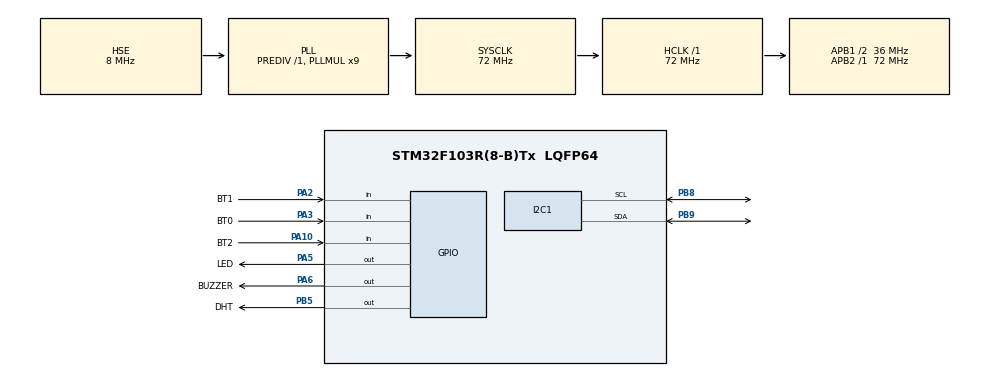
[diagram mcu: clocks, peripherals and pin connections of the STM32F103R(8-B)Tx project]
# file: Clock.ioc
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Mcu.Family=STM32F1
Mcu.Name=STM32F103R(8-B)Tx
Mcu.Package=LQFP64
NVIC.I2C1_ER_IRQn=true\:0\:0\:false\:false\:true\:true\:true\:true
NVIC.I2C1_EV_IRQn=true\:0\:0\:false\:false\:true\:true\:true\:true
NVIC.PriorityGroup=NVIC_PRIORITYGROUP_4
NVIC.TIM2_IRQn=true\:0\:0\:false\:false\:true\:true\:true\:true
PA10.GPIO_Label=BT2
PA10.GPIO_PuPd=GPIO_PULLUP
PA10.Signal=GPIO_Input
PA13.Mode=Serial_Wire
PA13.Signal=SYS_JTMS-SWDIO
PA14.Mode=Serial_Wire
PA14.Signal=SYS_JTCK-SWCLK
PA2.GPIO_Label=BT1
PA2.GPIO_PuPd=GPIO_PULLUP
PA2.Signal=GPIO_Input
PA3.GPIO_Label=BT0
PA3.GPIO_PuPd=GPIO_PULLUP
PA3.Signal=GPIO_Input
PA5.GPIO_Label=LED
PA5.GPIO_PuPd=GPIO_PULLUP
PA5.Signal=GPIO_Output
PA6.GPIO_Label=BUZZER
PA6.GPIO_PuPd=GPIO_PULLUP
PA6.Signal=GPIO_Output
PB5.GPIO_Label=DHT
PB5.GPIO_PuPd=GPIO_PULLUP
PB5.Signal=GPIO_Output
PB8.Mode=I2C
PB8.Signal=I2C1_SCL
PB9.Mode=I2C
PB9.Signal=I2C1_SDA
PD0-OSC_IN.Mode=HSE-External-Oscillator
PD0-OSC_IN.Signal=RCC_OSC_IN
PD1-OSC_OUT.Mode=HSE-External-Oscillator
PD1-OSC_OUT.Signal=RCC_OSC_OUT
ProjectManager.HeapSize=0x200
ProjectManager.StackSize=0x400
ProjectManager.TargetToolchain=STM32CubeIDE
RCC.AHBFreq_Value=72000000
RCC.APB1CLKDivider=RCC_HCLK_DIV2
RCC.APB1Freq_Value=36000000
RCC.APB1TimFreq_Value=72000000
RCC.APB2Freq_Value=72000000
RCC.APB2TimFreq_Value=72000000
RCC.HCLKFreq_Value=72000000
RCC.PLLMUL=RCC_PLL_MUL9
RCC.PLLSourceVirtual=RCC_PLLSOURCE_HSE
RCC.SYSCLKFreq_VALUE=72000000
RCC.SYSCLKSource=RCC_SYSCLKSOURCE_PLLCLK
RCC.USBFreq_Value=72000000
TIM2.Period=100 - 1
TIM2.Prescaler=36000 - 1
TIM3.Period=0xFFFF - 1
TIM3.Prescaler=72 - 1
VP_TIM2_VS_ClockSourceINT.Mode=Internal
VP_TIM3_VS_ClockSourceINT.Mode=Internal
board=custom

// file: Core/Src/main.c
/* USER CODE BEGIN Header */
/**
  ******************************************************************************
  * @file           : main.c
  * @brief          : Main program body
  ******************************************************************************
  * @attention
  *
  * Copyright (c) 2023 STMicroelectronics.
  * All rights reserved.
  *
  * This software is licensed under terms that can be found in the LICENSE file
  * in the root directory of this software component.
  * If no LICENSE file comes with this software, it is provided AS-IS.
  *
  ******************************************************************************
  */
/* USER CODE END Header */
#include "main.h"

/* USER CODE BEGIN Includes */
#include "lcd_i2c.h"
#include "ds130x.h"
#include "DHT.h"
#include "timer.h"
#include "input.h"
#include "fsm.h"
#include "global.h"
#include "output.h"

/* USER CODE END Includes */

I2C_HandleTypeDef hi2c1;

TIM_HandleTypeDef htim2;
TIM_HandleTypeDef htim3;

void SystemClock_Config(void);
static void MX_GPIO_Init(void);
static void MX_I2C1_Init(void);
static void MX_TIM3_Init(void);
static void MX_TIM2_Init(void);

int main(void)
{

  /* MCU Configuration--------------------------------------------------------*/

  /* Reset of all peripherals, Initializes the Flash interface and the Systick. */
  HAL_Init();

  /* Configure the system clock */
  SystemClock_Config();

  /* Initialize all configured peripherals */
  MX_GPIO_Init();
  MX_I2C1_Init();
  MX_TIM3_Init();
  MX_TIM2_Init();
  /* USER CODE BEGIN 2 */
  HAL_TIM_Base_Start_IT(&htim2);
  HAL_TIM_Base_Start(&htim3);
  HAL_TIM_PWM_Start(&htim3, TIM_CHANNEL_1);

  TM_Init(&htim2);
  TM_SetTime(50);

  IN_Init();
  DHT_Init(DHT_GPIO_Port, DHT_Pin, &htim3);
  OUT_Init(BUZZER_GPIO_Port, BUZZER_Pin);
  DS_Init(&hi2c1);

  CLCD_Init(&hi2c1, 0x3F, 2, 16);
  CLCD_InitBigDigit();

  FSM_Init();

//  uint8_t j = 0;
//  for(uint8_t i = 1; i < 128; i++){
//	  if(HAL_I2C_IsDeviceReady(&hi2c1, i<<1, 3, 5) == HAL_OK && i != 0x27){
//		  CLCD_PrintNumBuffer(j++, 0, i);
//		  if( j == 2) break;
////		  break;
//	  }
//  }
  //  HAL_GPIO_WritePin(LED_GPIO_Port, LED_Pin, SET);
  /* USER CODE END 2 */

  /* Infinite loop */
  /* USER CODE BEGIN WHILE */
  while (1)
  {

	  if(TM_IsFlag()){
		  _counter_time_elapsed = (_counter_time_elapsed + 1) % 200;

		  if(_time_screen >= 5) _time_screen -= 5;
		  if(_time_out >= 5) _time_out -= 5;

		  IN_ReadButton();

		  FSM_SystemControl();

		  CLCD_DisplayScreen();
//		  HAL_GPIO_TogglePin(LED_GPIO_Port, LED_Pin);

	  }

    /* USER CODE END WHILE */

  }
}

void SystemClock_Config(void)
{
  RCC_OscInitTypeDef RCC_OscInitStruct = {0};
  RCC_ClkInitTypeDef RCC_ClkInitStruct = {0};

  /** Initializes the RCC Oscillators according to the specified parameters
  * in the RCC_OscInitTypeDef structure.
  */
  RCC_OscInitStruct.OscillatorType = RCC_OSCILLATORTYPE_HSE;
  RCC_OscInitStruct.HSEState = RCC_HSE_ON;
  RCC_OscInitStruct.HSEPredivValue = RCC_HSE_PREDIV_DIV1;
  RCC_OscInitStruct.HSIState = RCC_HSI_ON;
  RCC_OscInitStruct.PLL.PLLState = RCC_PLL_ON;
  RCC_OscInitStruct.PLL.PLLSource = RCC_PLLSOURCE_HSE;
  RCC_OscInitStruct.PLL.PLLMUL = RCC_PLL_MUL9;
  if (HAL_RCC_OscConfig(&RCC_OscInitStruct) != HAL_OK)
  {
    Error_Handler();
  }

  /** Initializes the CPU, AHB and APB buses clocks
  */
  RCC_ClkInitStruct.ClockType = RCC_CLOCKTYPE_HCLK|RCC_CLOCKTYPE_SYSCLK
                              |RCC_CLOCKTYPE_PCLK1|RCC_CLOCKTYPE_PCLK2;
  RCC_ClkInitStruct.SYSCLKSource = RCC_SYSCLKSOURCE_PLLCLK;
  RCC_ClkInitStruct.AHBCLKDivider = RCC_SYSCLK_DIV1;
  RCC_ClkInitStruct.APB1CLKDivider = RCC_HCLK_DIV2;
  RCC_ClkInitStruct.APB2CLKDivider = RCC_HCLK_DIV1;

  if (HAL_RCC_ClockConfig(&RCC_ClkInitStruct, FLASH_LATENCY_2) != HAL_OK)
  {
    Error_Handler();
  }
}

static void MX_I2C1_Init(void)
{

  hi2c1.Instance = I2C1;
  hi2c1.Init.ClockSpeed = 100000;
  hi2c1.Init.DutyCycle = I2C_DUTYCYCLE_2;
  hi2c1.Init.OwnAddress1 = 0;
  hi2c1.Init.AddressingMode = I2C_ADDRESSINGMODE_7BIT;
  hi2c1.Init.DualAddressMode = I2C_DUALADDRESS_DISABLE;
  hi2c1.Init.OwnAddress2 = 0;
  hi2c1.Init.GeneralCallMode = I2C_GENERALCALL_DISABLE;
  hi2c1.Init.NoStretchMode = I2C_NOSTRETCH_DISABLE;
  if (HAL_I2C_Init(&hi2c1) != HAL_OK)
  {
    Error_Handler();
  }

}

static void MX_TIM2_Init(void)
{

  TIM_ClockConfigTypeDef sClockSourceConfig = {0};
  TIM_MasterConfigTypeDef sMasterConfig = {0};

  htim2.Instance = TIM2;
  htim2.Init.Prescaler = 36000 - 1;
  htim2.Init.CounterMode = TIM_COUNTERMODE_UP;
  htim2.Init.Period = 100 - 1;
  htim2.Init.ClockDivision = TIM_CLOCKDIVISION_DIV1;
  htim2.Init.AutoReloadPreload = TIM_AUTORELOAD_PRELOAD_DISABLE;
  if (HAL_TIM_Base_Init(&htim2) != HAL_OK)
  {
    Error_Handler();
  }
  sClockSourceConfig.ClockSource = TIM_CLOCKSOURCE_INTERNAL;
  if (HAL_TIM_ConfigClockSource(&htim2, &sClockSourceConfig) != HAL_OK)
  {
    Error_Handler();
  }
  sMasterConfig.MasterOutputTrigger = TIM_TRGO_RESET;
  sMasterConfig.MasterSlaveMode = TIM_MASTERSLAVEMODE_DISABLE;
  if (HAL_TIMEx_MasterConfigSynchronization(&htim2, &sMasterConfig) != HAL_OK)
  {
    Error_Handler();
  }

}

static void MX_TIM3_Init(void)
{

  TIM_ClockConfigTypeDef sClockSourceConfig = {0};
  TIM_MasterConfigTypeDef sMasterConfig = {0};

  htim3.Instance = TIM3;
  htim3.Init.Prescaler = 72 - 1;
  htim3.Init.CounterMode = TIM_COUNTERMODE_UP;
  htim3.Init.Period = 0xFFFF - 1;
  htim3.Init.ClockDivision = TIM_CLOCKDIVISION_DIV1;
  htim3.Init.AutoReloadPreload = TIM_AUTORELOAD_PRELOAD_DISABLE;
  if (HAL_TIM_Base_Init(&htim3) != HAL_OK)
  {
    Error_Handler();
  }
  sClockSourceConfig.ClockSource = TIM_CLOCKSOURCE_INTERNAL;
  if (HAL_TIM_ConfigClockSource(&htim3, &sClockSourceConfig) != HAL_OK)
  {
    Error_Handler();
  }
  sMasterConfig.MasterOutputTrigger = TIM_TRGO_RESET;
  sMasterConfig.MasterSlaveMode = TIM_MASTERSLAVEMODE_DISABLE;
  if (HAL_TIMEx_MasterConfigSynchronization(&htim3, &sMasterConfig) != HAL_OK)
  {
    Error_Handler();
  }

}

static void MX_GPIO_Init(void)
{
  GPIO_InitTypeDef GPIO_InitStruct = {0};

  /* GPIO Ports Clock Enable */
  __HAL_RCC_GPIOD_CLK_ENABLE();
  __HAL_RCC_GPIOA_CLK_ENABLE();
  __HAL_RCC_GPIOB_CLK_ENABLE();

  /*Configure GPIO pin Output Level */
  HAL_GPIO_WritePin(GPIOA, LED_Pin|BUZZER_Pin, GPIO_PIN_RESET);

  /*Configure GPIO pin Output Level */
  HAL_GPIO_WritePin(DHT_GPIO_Port, DHT_Pin, GPIO_PIN_RESET);

  /*Configure GPIO pins : BT1_Pin BT0_Pin BT2_Pin */
  GPIO_InitStruct.Pin = BT1_Pin|BT0_Pin|BT2_Pin;
  GPIO_InitStruct.Mode = GPIO_MODE_INPUT;
  GPIO_InitStruct.Pull = GPIO_PULLUP;
  HAL_GPIO_Init(GPIOA, &GPIO_InitStruct);

  /*Configure GPIO pins : LED_Pin BUZZER_Pin */
  GPIO_InitStruct.Pin = LED_Pin|BUZZER_Pin;
  GPIO_InitStruct.Mode = GPIO_MODE_OUTPUT_PP;
  GPIO_InitStruct.Pull = GPIO_PULLUP;
  GPIO_InitStruct.Speed = GPIO_SPEED_FREQ_LOW;
  HAL_GPIO_Init(GPIOA, &GPIO_InitStruct);

  /*Configure GPIO pin : DHT_Pin */
  GPIO_InitStruct.Pin = DHT_Pin;
  GPIO_InitStruct.Mode = GPIO_MODE_OUTPUT_PP;
  GPIO_InitStruct.Pull = GPIO_PULLUP;
  GPIO_InitStruct.Speed = GPIO_SPEED_FREQ_LOW;
  HAL_GPIO_Init(DHT_GPIO_Port, &GPIO_InitStruct);

}

void Error_Handler(void)
{
  __disable_irq();
  while (1)
  {
  }
}
